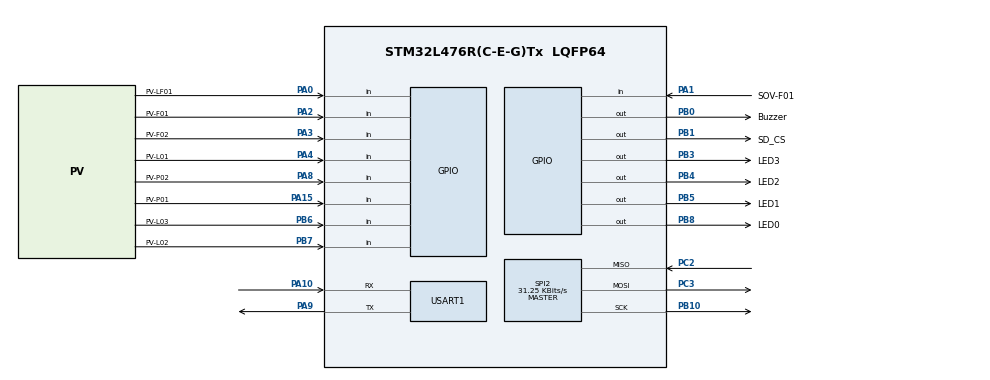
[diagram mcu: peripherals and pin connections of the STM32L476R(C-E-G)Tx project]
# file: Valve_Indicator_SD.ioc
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Mcu.Family=STM32L4
Mcu.Name=STM32L476R(C-E-G)Tx
Mcu.Package=LQFP64
NVIC.PriorityGroup=NVIC_PRIORITYGROUP_4
PA0.GPIO_Label=PV-LF01
PA0.Signal=GPIO_Input
PA1.GPIO_Label=SOV-F01
PA1.Signal=GPIO_Input
PA10.Mode=Multiprocessor_communication
PA10.Signal=USART1_RX
PA11.Signal=USART1_CTS
PA15\ (JTDI).GPIO_Label=PV-P01
PA15\ (JTDI).Signal=GPIO_Input
PA2.GPIO_Label=PV-F01
PA2.Signal=GPIO_Input
PA3.GPIO_Label=PV-F02
PA3.Signal=GPIO_Input
PA4.GPIO_Label=PV-L01
PA4.Signal=GPIO_Input
PA8.GPIO_Label=PV-P02
PA8.Signal=GPIO_Input
PA9.Mode=Multiprocessor_communication
PA9.Signal=USART1_TX
PB0.GPIO_Label=Buzzer
PB0.Signal=GPIO_Output
PB1.GPIO_Label=SD_CS
PB1.Signal=GPIO_Output
PB10.Mode=Full_Duplex_Master
PB10.Signal=SPI2_SCK
PB3\ (JTDO-TRACESWO).GPIO_Label=LED3
PB3\ (JTDO-TRACESWO).Signal=GPIO_Output
PB4\ (NJTRST).GPIO_Label=LED2
PB4\ (NJTRST).Signal=GPIO_Output
PB5.GPIO_Label=LED1
PB5.Signal=GPIO_Output
PB6.GPIO_Label=PV-L03
PB6.Signal=GPIO_Input
PB7.GPIO_Label=PV-L02
PB7.Signal=GPIO_Input
PB8.GPIO_Label=LED0
PB8.Signal=GPIO_Output
PC2.Mode=Full_Duplex_Master
PC2.Signal=SPI2_MISO
PC3.Mode=Full_Duplex_Master
PC3.Signal=SPI2_MOSI
ProjectManager.HeapSize=0x200
ProjectManager.StackSize=0x400
ProjectManager.TargetToolchain=STM32CubeIDE
RCC.HSE_VALUE=8000000
RCC.HSI_VALUE=16000000
RCC.LSE_VALUE=32768
RCC.MSI_VALUE=4000000
RCC.VCOOutputFreq_Value=32000000
SPI2.BaudRatePrescaler=SPI_BAUDRATEPRESCALER_128
SPI2.CalculateBaudRate=31.25 KBits/s
SPI2.DataSize=SPI_DATASIZE_8BIT
SPI2.Direction=SPI_DIRECTION_2LINES
SPI2.Mode=SPI_MODE_MASTER
SPI2.VirtualType=VM_MASTER
USART1.VirtualMode-Multiprocessor_communication=VM_ASYNC
VP_FATFS_VS_Generic.Mode=User_defined
board=custom

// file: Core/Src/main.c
/* USER CODE BEGIN Header */
/**
  ******************************************************************************
  * @file           : main.c
  * @brief          : Main program body
  ******************************************************************************
  * @attention
  *
  * <h2><center>&copy; Copyright (c) 2021 STMicroelectronics.
  * All rights reserved.</center></h2>
  *
  * This software component is licensed by ST under BSD 3-Clause license,
  * the "License"; You may not use this file except in compliance with the
  * License. You may obtain a copy of the License at:
  *                        opensource.org/licenses/BSD-3-Clause
  *
  ******************************************************************************
  */
/* USER CODE END Header */
#include "main.h"
#include "fatfs.h"

/* USER CODE BEGIN Includes */
#include <stdio.h>
#include <string.h>
#include <stdarg.h> //for va_list var arg functions0
#include <stdlib.h>
#include <unistd.h>
/* USER CODE END Includes */

SPI_HandleTypeDef hspi2;

UART_HandleTypeDef huart1;

void SystemClock_Config(void);
static void MX_GPIO_Init(void);
static void MX_SPI2_Init(void);
static void MX_USART1_UART_Init(void);
/* USER CODE BEGIN PFP */
//void myprintf(const char *fmt, ...);
FIL ApndThis(int valveCState[], int valveExState[], int batteryState, FRESULT fres, FIL fil);

//this is the main for this part that will call all other functions
//Will return 0 if no errors were found
int checkState(int valveCState[], int valveExState[], int valvesInError[]);	//input is a placeholder as I don't know how we get valve info into function

//A valve state didn't match, so now we here
int errorFound(int valvesInError[]);

//Take read in valve states and mak them usuable
void fillStruct(int valveCState[], int valveExState[]);

//Main function for the checking
//It is expected that this is what a higher function calls to initiate check
int mainCheck(int valveCState[], int valveExState[], int batteryState);

//Just realised that I was just copying code in each error level
int isError(int valvesInError[], int errorLevel);

//Just turn on Buzzer
void buzzOn();

//just turn  off Buzzer
void buzzOff();

//Turn on apecific binary (top is MSB) on LED lights
void ledOn(int whichOn);

//Turn off all LEDs
void ledOff();

//Power failure has occured
void powerFailureState();

/* USER CODE END PFP */

/* USER CODE BEGIN 0 */
/*
void myprintf(const char *fmt, ...) {
  static char buffer[256];
  va_list args;
  va_start(args, fmt);
  vsnprintf(buffer, sizeof(buffer), fmt, args);
  va_end(args);

  int len = strlen(buffer);
  HAL_UART_Transmit(&huart2, (uint8_t*)buffer, len, -1);

}
*/

// Main function to run append
FIL ApndThis(int valveCState[], int valveExState[], int batteryState, FRESULT fres, FIL fil)
{
// SOV_F01		//0
// PV_F01		//1
// PV_F02		//2
// PV_L01		//3
// PV_L02		//4
// PV_L03		//5
// PV_P01		//6
// PV_P02		//7
// PV_LF01		//8

	  //Making a buffer to write of 128 bytes/characters
	  //Will overwrite for every line to write to card
	  BYTE readBuf[128];

//Unpacking can be removed if we run out of space on stm, it just makes it easier to read and debug
	  //unpacking actual states
	  int SOV_F01 = valveCState[0];
	  int PV_F01 = valveCState[1];
	  int PV_F02 = valveCState[2];
	  int PV_L01 = valveCState[3];
	  int PV_L02 = valveCState[4];
	  int PV_L03 = valveCState[5];
	  int PV_P01 = valveCState[6];
	  int PV_P02 = valveCState[7];
	  int PV_LF01 = valveCState[8];

	  //unpacking expected states
	  int SOV_F01ex = valveExState[0];
	  int PV_F01ex = valveExState[1];
	  int PV_F02ex = valveExState[2];
	  int PV_L01ex = valveExState[3];
	  int PV_L02ex = valveExState[4];
	  int PV_L03ex = valveExState[5];
	  int PV_P01ex = valveExState[6];
	  int PV_P02ex = valveExState[7];
	  int PV_LF01ex = valveExState[8];

	  //write dividing line
	  strncpy((char*)readBuf, "**********************************************************\n", 59);
	  UINT bytesWrote;
	  fres = f_write(&fil, readBuf, 59, &bytesWrote);
	  if(fres == FR_OK) {
//		myprintf("Wrote %i bytes to 'valvestate'!\r\n", bytesWrote);
	  } else {
//		myprintf("f_write error (%i)\r\n");
		//don't have UART2 (com port over usb to laptop) for myprint, currently don't have a way to communicate errors
		//Perhaps encode code errors to remaining LED light codes?
		//Say all on if SD card cannot be written to
	  }

	  //Timestamp
	  //Ticks are acting weird, working on figuring out RTC to catch hours/mins for func mode
	  int ticksSince = HAL_GetTick();
	  uint32_t theClock = HAL_RCC_GetHCLKFreq();
	  theClock = theClock/100;    //May just comment out and have straight ticks for test mode
	  int secondsTotal = (ticksSince/theClock);
	  int minutesPast = secondsTotal/60;
	  int secondsPast = secondsTotal%60;

	  snprintf((char*)readBuf, 40, "- %d Minutes | %d Seconds -                         \n", minutesPast, secondsPast);
	  fres = f_write(&fil, readBuf, 40, &bytesWrote);
	  if(fres == FR_OK) {
//		myprintf("Wrote %i bytes to 'valvestate.txt'!\r\n", bytesWrote);
	  } else {
//		myprintf("f_write error (%i)\r\n");
	  }

	  //write expected valves
	  snprintf((char*)readBuf, 119, "\n\nExpected Valve States:\nSOV_F01: %d\nPV_F01: %d\nPV_F02: %d\nPV_L01: %d\nPV_L02: %d\nPV_L03: %d\nPV_P01: %d\nPV_P02: %d\nPV_LF01: %d\n\n", SOV_F01ex, PV_F01ex, PV_F02ex, PV_L01ex, PV_L02ex, PV_L03ex, PV_P01ex, PV_P02ex, PV_LF01ex);
	  fres = f_write(&fil, readBuf, 119, &bytesWrote);
	  if(fres == FR_OK) {
//		myprintf("Wrote %i bytes to 'valvestate.txt'!\r\n", bytesWrote);
	  } else {
//		myprintf("f_write error (%i)\r\n");
	  }

	  //write current valves
	  snprintf((char*)readBuf, 118, "\nCurrent Valve States:\nSOV_F01: %d\nPV_F01: %d\nPV_F02: %d\nPV_L01: %d\nPV_L02: %d\nPV_L03: %d\nPV_P01: %d\nPV_P02: %d\nPV_LF01: %d\n\n", SOV_F01, PV_F01, PV_F02, PV_L01, PV_L02, PV_L03, PV_P01, PV_P02, PV_LF01);
	  fres = f_write(&fil, readBuf, 118, &bytesWrote);
	  if(fres == FR_OK) {
//		myprintf("Wrote %i bytes to 'valvestate.txt'!\r\n", bytesWrote);
	  } else {
//		myprintf("f_write error (%i)\r\n");
	  }

	  //if we are on battery power, we want to know
	  if (batteryState) //Battery state needs to either demount or not be an endless loop
	  {
		  strncpy((char*)readBuf, "*Currently on battery power!*\n", 30);
		  UINT bytesWrote;
		  fres = f_write(&fil, readBuf, 30, &bytesWrote);
		  if(fres == FR_OK) {
//			  myprintf("Wrote %i bytes to 'valvestate.txt'!\r\n", bytesWrote);
		  } else {
//			  myprintf("f_write error (%i)\r\n");
		  }
	  }

	  return fil;

};

int mainCheck(int valveCState[], int valveExState[], int batteryState)
{
	//For tracking error status, only says that we have an error
	int errorButton = 0;

	//Keeps trak of which state of error that we are in
	//0 = all good, 1 = minor error, 2 = bigger error, 3 = major error, 4 = power failure
	int errorState = 0;

	//array keeps track of which valves are in error
	int valvesInError[10]; //0 = good, 1 = error

	//initialising error array
	//10th index is for power
	int i = 0;
	for (i=0; i<9; ++i)
	{
		valvesInError[i] = 0;
	}
	valvesInError[9] = batteryState;

	errorButton = checkState(valveCState, valveExState, valvesInError);

	if(errorButton == 1)
	{
		errorState = errorFound(valvesInError);
		isError(valvesInError, errorState);
	}
	//clear any errors that may have been occuring
	if(errorButton == 0)
	{
		buzzOff();
		ledOff();
		errorState = 0;
	}

	return errorState;
}

//returns error level (0-4)
int checkState(int valveCState[], int valveExState[], int valvesInError[])
{
	//If 1, then an error has occured
	int errorButton = 0;

	//checking each valve for an error
	if(valveCState[0] != valveExState[0])
	{
		errorButton = 1;
		valvesInError[0] = 1;
	}
	if(valveCState[1] != valveExState[1])
	{
		errorButton = 1;
		valvesInError[1] = 1;
	}
	if(valveCState[2] != valveExState[2])
	{
		errorButton = 1;
		valvesInError[2] = 1;
	}
	if(valveCState[3] != valveExState[3])
	{
		errorButton = 1;
		valvesInError[3] = 1;
	}
	if(valveCState[4] != valveExState[4])
	{
		errorButton = 1;
		valvesInError[4] = 1;
	}
	if(valveCState[5] != valveExState[5])
	{
		errorButton = 1;
		valvesInError[5] = 1;
	}
	if(valveCState[6] != valveExState[6])
	{
		errorButton = 1;
		valvesInError[6] = 1;
	}
	if(valveCState[7] != valveExState[7])
	{
		errorButton = 1;
		valvesInError[7] = 1;
	}
	if(valveCState[8] != valveExState[8])
	{
		errorButton = 1;
		valvesInError[8] = 1;
	}
	if(valvesInError[9] == 1)
	{
		errorButton = 1;
	}

	return errorButton;
}

//when in doubt, error out
//returns a value depending on which level of error is found
int errorFound(int valvesInError[])
{
	int errorLevel = 0;
				//index - priority
// PV_L02		//4 - 1
// PV_L03		//5 - 2
// PV_F02		//2 - 3
// PV_L01		//3 - 4
// PV_F01		//1 - 5
// SOV_F01		//0 - 6
// PV_LF01		//8 - 7
// PV_P01		//6 - 8
// PV_P02		//7 - 9
//Error level is set to highest prio valve
	if(valvesInError[7])
		errorLevel = 1;
	if(valvesInError[6])
		errorLevel = 1;
	if(valvesInError[8])
		errorLevel = 1;
	if(valvesInError[0])
		errorLevel = 1;
	if(valvesInError[1])
		errorLevel = 2;
	if(valvesInError[3])
		errorLevel = 2;
	if(valvesInError[2])
		errorLevel = 2;
	if(valvesInError[5])
		errorLevel = 3;
	if(valvesInError[4])
		errorLevel = 3;
	if(valvesInError[9]) //power failure and on battery, fix this first
		errorLevel = 4;

	return errorLevel;
}

int isError(int valvesInError[], int errorLevel)
{
	//The buzzer doesn't get turned off until error is cleared
	buzzOn();

	if (errorLevel == 4)
	{
		powerFailureState();  //It is currently not expected that we can return from this state without a restart
		return 1;
	}
	//add a loss of power error with higher priority later

  int i = 0;
	for(i=0; i<6; ++i)
	{
		ledOn(errorLevel);
		HAL_Delay(1000);
//		sleep(1);
		ledOff();
		HAL_Delay(1000);
//		sleep(1);
	}

	for(i=0; i<9; ++i)
	{
		if(valvesInError[i] == 1)
		{
			ledOn(i);
			HAL_Delay(1000);
//			sleep(1);
			ledOff();
		}
	}
 return 0;
}

void buzzOn()
{
	//printf for debugging outside of board
	//will comment out in board testing
//	myprintf("\nBuzzer ON\n");
	HAL_GPIO_WritePin(GPIOB, Buzzer_Pin, GPIO_PIN_SET);
}

void buzzOff()
{
	//printf for debugging outside of board
	//will comment out in board testing
//	myprintf("\nBuzzer OFF\n");
	HAL_GPIO_WritePin(GPIOB, Buzzer_Pin, GPIO_PIN_RESET);
}

//need to add pin pushing, for now just print
void ledOn(int whichOn)
{
	int led3 = 0;
	int led2 = 0;
	int led1 = 0;
	int led0 = 0;

	++whichOn; //change from index to actual number displayed in binary on LEDs

	//decoding into binary values on leds
	if(whichOn == 1)
	{
		led0 = 1;
	}
	if(whichOn == 2)
	{
		led1 = 1;
	}
	if(whichOn == 3)
	{
		led0 = 1;
		led1 = 1;
	}
	if(whichOn == 4)
	{
		led2 = 1;
	}
	if(whichOn == 5)
	{
		led0 = 1;
		led2 = 1;
	}
	if(whichOn == 6)
	{
		led1 = 1;
		led2 = 1;
	}
	if(whichOn == 7)
	{
		led0 = 1;
		led1 = 1;
		led2 = 1;
	}
	if(whichOn == 8)
	{
		led3 = 1;
	}
	if(whichOn == 9)
	{
		led0 = 1;
		led3 = 1;
	}
	if(whichOn == 15) //All LEDS ON
	{
		led0 = 1;
		led1 = 1;
		led2 = 1;
		led3 = 1;
	}

	//will be changed to pin pushing
//	myprintf(" LED %d ON\n", whichOn);
//	myprintf(" LED3 : [%d] |", led3);
//	myprintf(" LED2 : [%d] |", led2);
//	myprintf(" LED1 : [%d] |", led1);
//	myprintf(" LED0 : [%d]\n", led0);
	if(led0) HAL_GPIO_WritePin(GPIOB, LED0_Pin, GPIO_PIN_SET);
	if(led1) HAL_GPIO_WritePin(GPIOB, LED1_Pin, GPIO_PIN_SET);
	if(led2) HAL_GPIO_WritePin(GPIOB, LED2_Pin, GPIO_PIN_SET);
	if(led3) HAL_GPIO_WritePin(GPIOB, LED3_Pin, GPIO_PIN_SET);

}

//Set all leds off when switching to prevent sticking on
void ledOff()
{
	//printf for debugging outside of board
	//change to pin pushing to set all 4 LEDs OFF
//	myprintf("\nLEDs OFF\n\n");
	HAL_GPIO_WritePin(GPIOB, LED0_Pin, GPIO_PIN_RESET);
	HAL_GPIO_WritePin(GPIOB, LED1_Pin, GPIO_PIN_RESET);
	HAL_GPIO_WritePin(GPIOB, LED2_Pin, GPIO_PIN_RESET);
	HAL_GPIO_WritePin(GPIOB, LED3_Pin, GPIO_PIN_RESET);
}

//goes down 4-3-2-1 continually
void powerFailureState()
{
	while(1)
	{
		ledOn(1);
		HAL_Delay(1000);
//		sleep(1);
		ledOff();

		ledOn(3);
		HAL_Delay(1000);
//		sleep(1);
		ledOff();

		ledOn(7);
		HAL_Delay(1000);
//		sleep(1);
		ledOff();

		ledOn(15);
		HAL_Delay(1000);
//		sleep(1);
		ledOff();
	}
}

/* USER CODE END 0 */

int main(void)
{
  /* USER CODE BEGIN 1 */
	int sensorState[10];

//	char writeBuffer[11];
  /* USER CODE END 1 */

  /* MCU Configuration--------------------------------------------------------*/

  /* Reset of all peripherals, Initializes the Flash interface and the Systick. */
  HAL_Init();

  /* Configure the system clock */
  SystemClock_Config();

  /* Initialize all configured peripherals */
  MX_GPIO_Init();
  MX_SPI2_Init();
  MX_USART1_UART_Init();
  MX_FATFS_Init();
  /* USER CODE BEGIN 2 */

  HAL_Delay(1000); //a short delay is important to let the SD card settle

  //some variables for FatFs
  FATFS FatFs; 	//Fatfs handle
  FIL fil; 		//File handle
  FRESULT fres; //Result after operations

  //Open the file system
  fres = f_mount(&FatFs, "", 1); //1=mount now
  if (fres != FR_OK) {
//	myprintf("f_mount error (%i)\r\n", fres);
	while(1);
  }

  //Let's get some statistics from the SD card
  DWORD free_clusters, free_sectors, total_sectors;

  FATFS* getFreeFs;

  fres = f_getfree("", &free_clusters, &getFreeFs);
  if (fres != FR_OK) {
//	myprintf("f_getfree error (%i)\r\n", fres);
	while(1);
  }

  //Formula comes from ChaN's documentation
  total_sectors = (getFreeFs->n_fatent - 2) * getFreeFs->csize;
  free_sectors = free_clusters * getFreeFs->csize;

//  myprintf("\n\n\n\n\n\n\n\n\n\n\n\n\n\n\n\n\n\n");
//  myprintf("Hello, I push and pull stuff into the sd cards\n:D\n\n");

//  myprintf("SD card stats:\r\n%10lu KiB total drive space.\r\n%10lu KiB available.\r\n", total_sectors / 2, free_sectors / 2);

  //Create (rewrite) a file to hold all the state stuff
  fres = f_open(&fil, "valve.txt", FA_WRITE | FA_OPEN_ALWAYS | FA_CREATE_ALWAYS);
  if(fres == FR_OK) {
//	myprintf("\nWas able to open/create valvestate.txt\r\n");
  } else {
//	myprintf("f_open error (%i)\r\n", fres);
  }

//***START TESTING***//
//Have a diffrent file open here so that we can write a test file before a seperate functional file
  //This is where we actually write to sd and run states
  //for now this is just a testbench
  //funtional veriosn will be a loop that checks actual valve states
  int batteryState = 0;
  int valveCState[9];
  int valveExState[9];

  //initialise and check everything good
  int i = 0;
  	for (i=0; i<9; ++i)
  	{
  		valveCState[i] = 0;
  	}

  	i = 0;
  	for (i=0; i<9; ++i)
  	{
  		valveExState[i] = 0;
  	}

  	fil = ApndThis(valveCState,valveExState,batteryState, fres, fil);
  	mainCheck(valveCState,valveExState,batteryState);

  	//check low prio valve wrong
  	valveCState[7] = 1;

  	fil = ApndThis(valveCState,valveExState,batteryState, fres, fil);
  	mainCheck(valveCState,valveExState,batteryState);

  	//check two wrong valves
    valveCState[2] = 1;

  	fil = ApndThis(valveCState,valveExState,batteryState, fres, fil);
  	mainCheck(valveCState,valveExState,batteryState);

  	//check all wrong valves
  	i = 0;
  	for (i=0; i<9; ++i)
  	{
  		valveCState[i] = 1;
  	}

  	fil = ApndThis(valveCState,valveExState,batteryState, fres, fil);
  	mainCheck(valveCState,valveExState,batteryState);

  	//check battery state set with any wrong valves
//  	batteryState = 1;

//  	ApndThis(valveCState,valveExState,batteryState, fres, fil);
//  	mainCheck(valveCState,valveExState,batteryState);

  	//checking all errors now cleared
  	batteryState = 0;
  	i = 0;
  	for (i=0; i<9; ++i)
  	{
  		valveCState[i] = 0;
  	}

  	fil = ApndThis(valveCState,valveExState,batteryState, fres, fil);
  	mainCheck(valveCState,valveExState,batteryState);

//***END TESTING***//

  //We're done, so de-mount the drive

	//Close the file
  f_close(&fil);
  f_mount(NULL, "", 0);

  /* USER CODE END 2 */

  /* Infinite loop */
  /* USER CODE BEGIN WHILE */
  int safetyState[] = {0,0,0,0,0,0,0,0,0}; //Just here for testing
  while (1)
  {
//functional mode, still in work (right now can be used to check HES, no SD card func)
//**NOTE**//
//If you wait for SD card test to finish, this can then be tested (Is not different from practicum version)
	  //Make a function to do this, block in main no good
	  sensorState[0] = HAL_GPIO_ReadPin(GPIOA, SOV_F01_Pin);
	  sensorState[1] = HAL_GPIO_ReadPin(GPIOA, PV_F01_Pin);
	  sensorState[2] = HAL_GPIO_ReadPin(GPIOA, PV_F02_Pin);
	  sensorState[3] = HAL_GPIO_ReadPin(GPIOA, PV_L01_Pin);
	  sensorState[4] = HAL_GPIO_ReadPin(GPIOB, PV_L02_Pin);
	  sensorState[5] = HAL_GPIO_ReadPin(GPIOB, PV_L03_Pin);
	  sensorState[6] = HAL_GPIO_ReadPin(GPIOA, PV_P01_Pin);
	  sensorState[7] = HAL_GPIO_ReadPin(GPIOA, PV_P02_Pin);
	  sensorState[8] = HAL_GPIO_ReadPin(GPIOA, PV_LF01_Pin);
	  sensorState[9] = 0; //Will later be used to check battery state

	  mainCheck(sensorState, safetyState, 0);

//**WORKING FUNC MODE ALGORITHM**//
	  //Wait for UART message of state change (Act like interrupt) or power failure
	  //If no interrupt, check ever minute or so (easy to change with HALdelay)
	  //Grab either valve states or decode given states to ex valve states (don't currently know what is coming over UART)
	  //Wait 2-3 seconds for valves to change (depending on how long valves take on average or slowest)
	  //Catch c valve states
	  //Write SD card (incase of power failure)
	  //Run mainCheck (catch errorButton)
	  //If errorButton, then loop from catch c valve states
	  //Else, all good, restart whole loop
	  //Need a signal over UART for when to break loop and demount SD card
//**END ALGORITHM**//

    /* USER CODE END WHILE */

    /* USER CODE BEGIN 3 */
		 HAL_Delay(1000);
  }
  /* USER CODE END 3 */
}

void SystemClock_Config(void)
{
  RCC_OscInitTypeDef RCC_OscInitStruct = {0};
  RCC_ClkInitTypeDef RCC_ClkInitStruct = {0};
  RCC_PeriphCLKInitTypeDef PeriphClkInit = {0};

  /** Initializes the RCC Oscillators according to the specified parameters
  * in the RCC_OscInitTypeDef structure.
  */
  RCC_OscInitStruct.OscillatorType = RCC_OSCILLATORTYPE_MSI;
  RCC_OscInitStruct.MSIState = RCC_MSI_ON;
  RCC_OscInitStruct.MSICalibrationValue = 0;
  RCC_OscInitStruct.MSIClockRange = RCC_MSIRANGE_6;
  RCC_OscInitStruct.PLL.PLLState = RCC_PLL_NONE;
  if (HAL_RCC_OscConfig(&RCC_OscInitStruct) != HAL_OK)
  {
    Error_Handler();
  }
  /** Initializes the CPU, AHB and APB buses clocks
  */
  RCC_ClkInitStruct.ClockType = RCC_CLOCKTYPE_HCLK|RCC_CLOCKTYPE_SYSCLK
                              |RCC_CLOCKTYPE_PCLK1|RCC_CLOCKTYPE_PCLK2;
  RCC_ClkInitStruct.SYSCLKSource = RCC_SYSCLKSOURCE_MSI;
  RCC_ClkInitStruct.AHBCLKDivider = RCC_SYSCLK_DIV1;
  RCC_ClkInitStruct.APB1CLKDivider = RCC_HCLK_DIV1;
  RCC_ClkInitStruct.APB2CLKDivider = RCC_HCLK_DIV1;

  if (HAL_RCC_ClockConfig(&RCC_ClkInitStruct, FLASH_LATENCY_0) != HAL_OK)
  {
    Error_Handler();
  }
  PeriphClkInit.PeriphClockSelection = RCC_PERIPHCLK_USART1;
  PeriphClkInit.Usart1ClockSelection = RCC_USART1CLKSOURCE_PCLK2;
  if (HAL_RCCEx_PeriphCLKConfig(&PeriphClkInit) != HAL_OK)
  {
    Error_Handler();
  }
  /** Configure the main internal regulator output voltage
  */
  if (HAL_PWREx_ControlVoltageScaling(PWR_REGULATOR_VOLTAGE_SCALE1) != HAL_OK)
  {
    Error_Handler();
  }
}

static void MX_SPI2_Init(void)
{

  /* SPI2 parameter configuration*/
  hspi2.Instance = SPI2;
  hspi2.Init.Mode = SPI_MODE_MASTER;
  hspi2.Init.Direction = SPI_DIRECTION_2LINES;
  hspi2.Init.DataSize = SPI_DATASIZE_8BIT;
  hspi2.Init.CLKPolarity = SPI_POLARITY_LOW;
  hspi2.Init.CLKPhase = SPI_PHASE_1EDGE;
  hspi2.Init.NSS = SPI_NSS_SOFT;
  hspi2.Init.BaudRatePrescaler = SPI_BAUDRATEPRESCALER_128;
  hspi2.Init.FirstBit = SPI_FIRSTBIT_MSB;
  hspi2.Init.TIMode = SPI_TIMODE_DISABLE;
  hspi2.Init.CRCCalculation = SPI_CRCCALCULATION_DISABLE;
  hspi2.Init.CRCPolynomial = 7;
  hspi2.Init.CRCLength = SPI_CRC_LENGTH_DATASIZE;
  hspi2.Init.NSSPMode = SPI_NSS_PULSE_ENABLE;
  if (HAL_SPI_Init(&hspi2) != HAL_OK)
  {
    Error_Handler();
  }

}

static void MX_USART1_UART_Init(void)
{

  huart1.Instance = USART1;
  huart1.Init.BaudRate = 115200;
  huart1.Init.WordLength = UART_WORDLENGTH_8B;
  huart1.Init.StopBits = UART_STOPBITS_1;
  huart1.Init.Parity = UART_PARITY_NONE;
  huart1.Init.Mode = UART_MODE_TX_RX;
  huart1.Init.HwFlowCtl = UART_HWCONTROL_NONE;
  huart1.Init.OverSampling = UART_OVERSAMPLING_16;
  huart1.Init.OneBitSampling = UART_ONE_BIT_SAMPLE_DISABLE;
  huart1.AdvancedInit.AdvFeatureInit = UART_ADVFEATURE_NO_INIT;
  if (HAL_MultiProcessor_Init(&huart1, 0, UART_WAKEUPMETHOD_IDLELINE) != HAL_OK)
  {
    Error_Handler();
  }

}

static void MX_GPIO_Init(void)
{
  GPIO_InitTypeDef GPIO_InitStruct = {0};

  /* GPIO Ports Clock Enable */
  __HAL_RCC_GPIOC_CLK_ENABLE();
  __HAL_RCC_GPIOA_CLK_ENABLE();
  __HAL_RCC_GPIOB_CLK_ENABLE();

  /*Configure GPIO pin Output Level */
  HAL_GPIO_WritePin(GPIOB, Buzzer_Pin|SD_CS_Pin|LED3_Pin|LED2_Pin
                          |LED1_Pin|LED0_Pin, GPIO_PIN_RESET);

  /*Configure GPIO pins : PV_LF01_Pin SOV_F01_Pin PV_F01_Pin PV_F02_Pin
                           PV_L01_Pin PV_P02_Pin PV_P01_Pin */
  GPIO_InitStruct.Pin = PV_LF01_Pin|SOV_F01_Pin|PV_F01_Pin|PV_F02_Pin
                          |PV_L01_Pin|PV_P02_Pin|PV_P01_Pin;
  GPIO_InitStruct.Mode = GPIO_MODE_INPUT;
  GPIO_InitStruct.Pull = GPIO_NOPULL;
  HAL_GPIO_Init(GPIOA, &GPIO_InitStruct);

  /*Configure GPIO pins : Buzzer_Pin SD_CS_Pin LED3_Pin LED2_Pin
                           LED1_Pin LED0_Pin */
  GPIO_InitStruct.Pin = Buzzer_Pin|SD_CS_Pin|LED3_Pin|LED2_Pin
                          |LED1_Pin|LED0_Pin;
  GPIO_InitStruct.Mode = GPIO_MODE_OUTPUT_PP;
  GPIO_InitStruct.Pull = GPIO_NOPULL;
  GPIO_InitStruct.Speed = GPIO_SPEED_FREQ_LOW;
  HAL_GPIO_Init(GPIOB, &GPIO_InitStruct);

  /*Configure GPIO pins : PV_L03_Pin PV_L02_Pin */
  GPIO_InitStruct.Pin = PV_L03_Pin|PV_L02_Pin;
  GPIO_InitStruct.Mode = GPIO_MODE_INPUT;
  GPIO_InitStruct.Pull = GPIO_NOPULL;
  HAL_GPIO_Init(GPIOB, &GPIO_InitStruct);

}

void Error_Handler(void)
{
}

/************************ (C) COPYRIGHT STMicroelectronics *****END OF FILE****/
